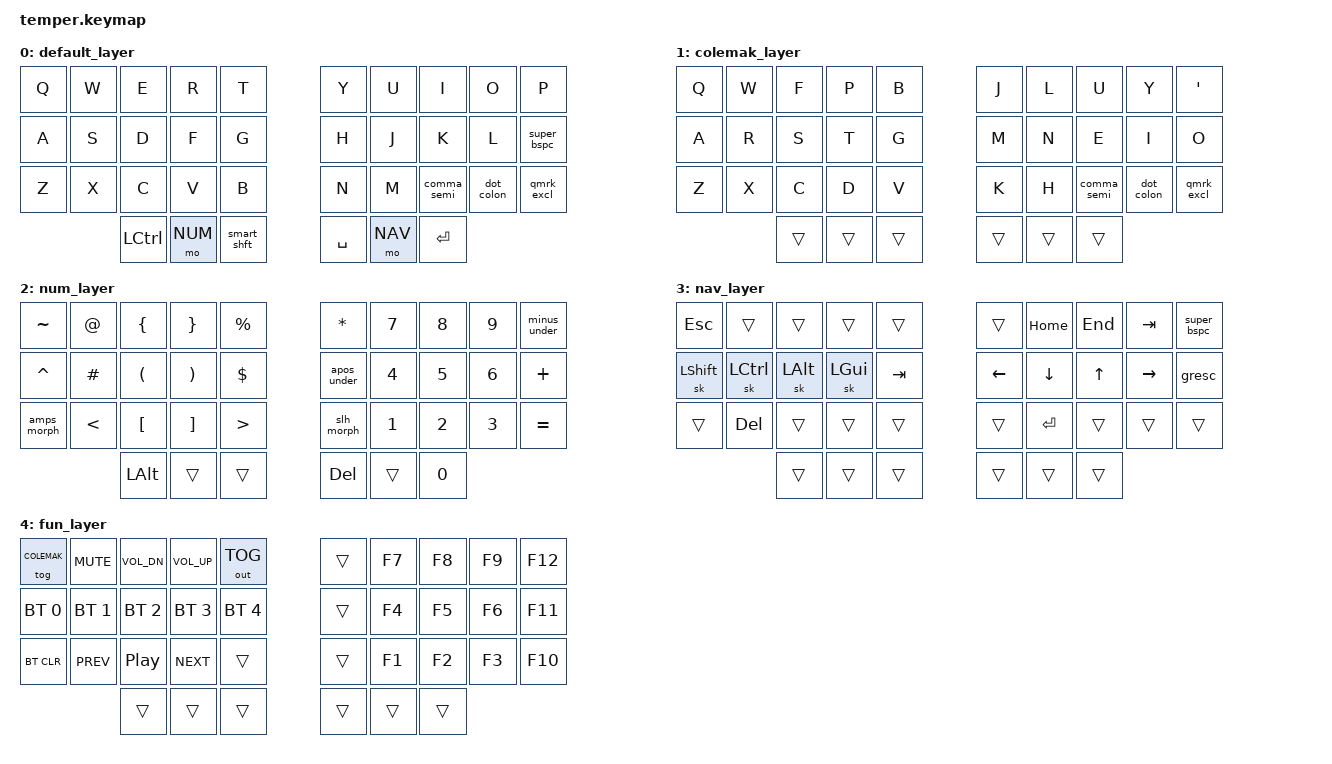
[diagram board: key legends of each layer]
/*
 * Copyright (c) 2020 The ZMK Contributors
 *
 * SPDX-License-Identifier: MIT
 */

#include <behaviors.dtsi>
#include <dt-bindings/zmk/keys.h>
#include <dt-bindings/zmk/bt.h>
#include <dt-bindings/zmk/outputs.h>

#define DEFAULT 0
#define COLEMAK 1
#define NUM 2
#define NAV 3
#define FUN 4

/ {
    conditional_layers {
        compatible = "zmk,conditional-layers";
        tri_layer {
            if-layers = <NUM NAV>;
            then-layer = <FUN>;
        };
    };
    behaviors {
        bspc_del: backspace_delete {
            compatible = "zmk,behavior-mod-morph";
            #binding-cells = <0>;
            bindings = <&kp BACKSPACE>, <&kp DELETE>;
            mods = <(MOD_LSFT|MOD_RSFT)>;
            keep-mods = <(MOD_RSFT)>;
        };
        super_bspc: super_backspace {
            compatible = "zmk,behavior-mod-morph";
            #binding-cells = <0>;
            bindings = <&kp BACKSPACE>, <&kp LA(BACKSPACE)>;
            mods = <(MOD_LSFT|MOD_RSFT)>;
        };
        smart_shft: smart_shift {
            compatible = "zmk,behavior-mod-morph";
            #binding-cells = <0>;
            bindings = <&kp LSHFT>, <&caps_word>;
            mods = <(MOD_LSFT)>;
        };
        comma_semi: comma_semi {
            compatible = "zmk,behavior-mod-morph";
            #binding-cells = <0>;
            bindings = <&kp COMMA>, <&kp SEMI>;
            mods = <(MOD_LSFT)>;
        };
        dot_colon: dot_colon {
            compatible = "zmk,behavior-mod-morph";
            #binding-cells = <0>;
            bindings = <&kp DOT>, <&kp COLON>;
            mods = <(MOD_LSFT)>;
        };
        qmrk_excl: qmrk_excl {
            compatible = "zmk,behavior-mod-morph";
            #binding-cells = <0>;
            bindings = <&kp QMARK>, <&kp EXCL>;
            mods = <(MOD_LSFT)>;
        };
        slh_morph: slh_morph {
            compatible = "zmk,behavior-mod-morph";
            #binding-cells = <0>;
            bindings = <&kp FSLH>, <&kp BSLH>;
            mods = <(MOD_LSFT)>;
        };
        amps_morph: amps_morph {
            compatible = "zmk,behavior-mod-morph";
            #binding-cells = <0>;
            bindings = <&kp AMPS>, <&kp PIPE>;
            mods = <(MOD_LSFT)>;
		};
		apos_under: apos_dqt {
			compatible = "zmk,behavior-mod-morph";
            #binding-cells = <0>;
            bindings = <&kp APOS>, <&kp DQT>;
            mods = <(MOD_LSFT)>;
		};
		minus_under: minus_under {
			compatible = "zmk,behavior-mod-morph";
            #binding-cells = <0>;
            bindings = <&kp MINUS>, <&kp UNDER>;
            mods = <(MOD_LSFT)>;
		};
    };
        keymap {
                compatible = "zmk,keymap";

                default_layer {
                        bindings = <
// ╭─────────────┬─────────────┬─────────────┬─────────────┬─────────────╮   ╭─────────────┬─────────────┬─────────────┬─────────────┬─────────────╮
        &kp Q         &kp W         &kp E         &kp R         &kp T              &kp Y        &kp U         &kp I         &kp O         &kp P   
// ├─────────────┼─────────────┼─────────────┼─────────────┼─────────────┤   ├─────────────┼─────────────┼─────────────┼─────────────┼─────────────┤
        &kp A         &kp S         &kp D         &kp F         &kp G              &kp H        &kp J         &kp K         &kp L       &super_bspc
// ├─────────────┼─────────────┼─────────────┼─────────────┼─────────────┤   ├─────────────┼─────────────┼─────────────┼─────────────┼─────────────┤
        &kp Z         &kp X         &kp C         &kp V         &kp B              &kp N        &kp M      &comma_semi   &dot_colon     &qmrk_excl
// ╰─────────────┴─────────────┼─────────────┼─────────────┼─────────────┤   ├─────────────┼─────────────┼─────────────┼─────────────┴─────────────╯
                                   &kp LCTRL      &mo NUM     &smart_shft        &kp SPACE      &mo NAV     &kp ENTER
//                             ╰─────────────┴─────────────┴─────────────╯   ╰─────────────┴─────────────┴─────────────╯
                        >;
                };
                colemak_layer {
                        bindings = <
// ╭─────────────┬─────────────┬─────────────┬─────────────┬─────────────╮   ╭─────────────┬─────────────┬─────────────┬─────────────┬─────────────╮
        &kp Q         &kp W         &kp F         &kp P         &kp B             &kp J         &kp L         &kp U         &kp Y       &kp APOS   
// ├─────────────┼─────────────┼─────────────┼─────────────┼─────────────┤   ├─────────────┼─────────────┼─────────────┼─────────────┼─────────────┤
        &kp A         &kp R         &kp S         &kp T         &kp G             &kp M         &kp N         &kp E         &kp I         &kp O
// ├─────────────┼─────────────┼─────────────┼─────────────┼─────────────┤   ├─────────────┼─────────────┼─────────────┼─────────────┼─────────────┤
        &kp Z         &kp X         &kp C         &kp D         &kp V             &kp K         &kp H      &comma_semi    &dot_colon    &qmrk_excl
// ╰─────────────┴─────────────┼─────────────┼─────────────┼─────────────┤   ├─────────────┼─────────────┼─────────────┼─────────────┴─────────────╯
                                    &trans        &trans        &trans             &trans       &trans        &trans
//                             ╰─────────────┴─────────────┴─────────────╯   ╰─────────────┴─────────────┴─────────────╯
                        >;
                };
                num_layer {
                        bindings = <
// ╭─────────────┬─────────────┬─────────────┬─────────────┬─────────────╮   ╭─────────────┬─────────────┬─────────────┬─────────────┬─────────────╮
      &kp TILDE       &kp AT       &kp LBRC      &kp RBRC     &kp PRCNT          &kp STAR       &kp N7        &kp N8        &kp N9      &minus_under
// ├─────────────┼─────────────┼─────────────┼─────────────┼─────────────┤   ├─────────────┼─────────────┼─────────────┼─────────────┼─────────────┤
      &kp CARET      &kp HASH      &kp LPAR      &kp RPAR      &kp DLLR         &apos_under       &kp N4        &kp N5        &kp N6      &kp PLUS
// ├─────────────┼─────────────┼─────────────┼─────────────┼─────────────┤   ├─────────────┼─────────────┼─────────────┼─────────────┼─────────────┤
      &amps_morph     &kp LT       &kp LBKT      &kp RBKT       &kp GT          &slh_morph      &kp N1        &kp N2        &kp N3      &kp EQUAL
// ╰─────────────┴─────────────┼─────────────┼─────────────┼─────────────┤   ├─────────────┼─────────────┼─────────────┼─────────────┴─────────────╯
                                   &kp LALT      &trans         &trans          &kp DEL         &trans         &kp N0
//                             ╰─────────────┴─────────────┴─────────────╯   ╰─────────────┴─────────────┴─────────────╯
                        >;
                };

                nav_layer {
                        bindings = <
// ╭─────────────┬─────────────┬─────────────┬─────────────┬─────────────╮   ╭─────────────┬─────────────┬─────────────┬─────────────┬─────────────╮
       &kp ESC        &trans        &trans        &trans        &trans            &trans       &kp HOME      &kp END       &kp TAB     &super_bspc
// ├─────────────┼─────────────┼─────────────┼─────────────┼─────────────┤   ├─────────────┼─────────────┼─────────────┼─────────────┼─────────────┤
      &sk LSHFT     &sk LCTRL      &sk LALT      &sk LGUI      &kp TAB           &kp LEFT      &kp DOWN       &kp UP      &kp RIGHT       &gresc
// ├─────────────┼─────────────┼─────────────┼─────────────┼─────────────┤   ├─────────────┼─────────────┼─────────────┼─────────────┼─────────────┤
        &trans       &kp DEL        &trans        &trans        &trans            &trans        &kp RET       &trans        &trans        &trans
// ╰─────────────┴─────────────┼─────────────┼─────────────┼─────────────┤   ├─────────────┼─────────────┼─────────────┼─────────────┴─────────────╯
                                    &trans        &trans        &trans            &trans        &trans        &trans
//                             ╰─────────────┴─────────────┴─────────────╯   ╰─────────────┴─────────────┴─────────────╯
                        >;
                };

                fun_layer {
                        bindings = <
// ╭─────────────┬─────────────┬─────────────┬─────────────┬─────────────╮   ╭─────────────┬─────────────┬─────────────┬─────────────┬─────────────╮
    &tog COLEMAK   &kp K_MUTE    &kp C_VOL_DN  &kp C_VOL_UP  &out OUT_TOG         &trans        &kp F7        &kp F8        &kp F9       &kp F12
// ├─────────────┼─────────────┼─────────────┼─────────────┼─────────────┤   ├─────────────┼─────────────┼─────────────┼─────────────┼─────────────┤
     &bt BT_SEL 0  &bt BT_SEL 1  &bt BT_SEL 2  &bt BT_SEL 3  &bt BT_SEL 4         &trans        &kp F4        &kp F5        &kp F6       &kp F11
// ├─────────────┼─────────────┼─────────────┼─────────────┼─────────────┤   ├─────────────┼─────────────┼─────────────┼─────────────┼─────────────┤
      &bt BT_CLR    &kp C_PREV     &kp C_PP     &kp C_NEXT      &trans            &trans        &kp F1        &kp F2        &kp F3       &kp F10
// ╰─────────────┴─────────────┼─────────────┼─────────────┼─────────────┤   ├─────────────┼─────────────┼─────────────┼─────────────┴─────────────╯
                                    &trans        &trans        &trans            &trans        &trans        &trans
//                             ╰─────────────┴─────────────┴─────────────╯   ╰─────────────┴─────────────┴─────────────╯
                        >;
                };
        };
};
